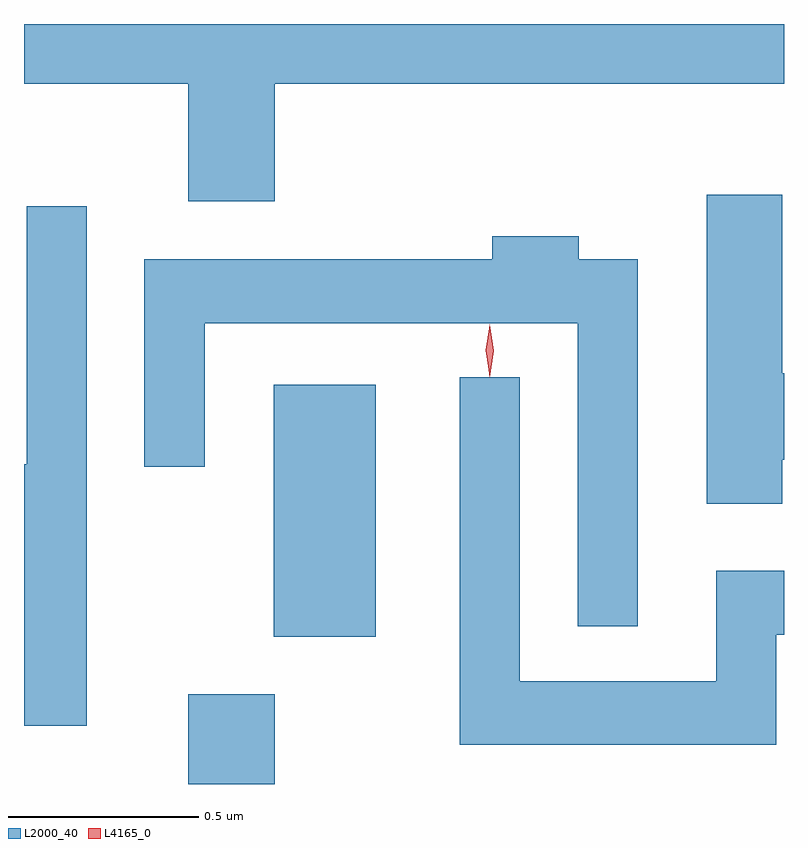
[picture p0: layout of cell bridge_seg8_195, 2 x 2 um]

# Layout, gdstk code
import gdstk
lib = gdstk.Library(unit=1e-6, precision=1e-09)
def R(c, l, rs):  # rectangles x0, y0, x1, y1
    for r in rs: c.add(gdstk.rectangle(r[:2], r[2:], *l))
def P(c, l, *ps):  # polygons
    for p in ps: c.add(gdstk.Polygon(p, *l))
L2000_40 = (2000, 40)
L4165_0 = (4165, 0)

bridge_seg8_195 = lib.new_cell('bridge_seg8_195')
R(bridge_seg8_195, L2000_40, [(1066.041,1910.053,1066.269,1910.289), (1066.266,1910.441,1066.534,1911.104)])
P(bridge_seg8_195, L2000_40, [(1066.269,1911.896),(1067.609,1911.896),(1067.609,1912.053),(1065.609,1912.053),(1065.609,1911.896),(1066.041,1911.896),(1066.041,1911.586),(1066.269,1911.586)],
  [(1067.604,1910.906),(1067.609,1910.906),(1067.609,1911.134),(1067.604,1911.134),(1067.604,1911.604),(1067.406,1911.604),(1067.406,1910.791),(1067.604,1910.791)],
  [(1065.774,1911.573),(1065.616,1911.573),(1065.616,1910.894),(1065.609,1910.894),(1065.609,1910.206),(1065.774,1910.206)],
  [(1067.224,1911.434),(1067.069,1911.434),(1067.069,1911.494),(1066.841,1911.494),(1066.841,1911.434),(1065.926,1911.434),(1065.926,1910.888),(1066.084,1910.888),(1066.084,1911.266),(1067.066,1911.266),(1067.066,1910.468),(1067.224,1910.468)],
  [(1067.589,1910.446),(1067.609,1910.446),(1067.609,1910.614),(1067.431,1910.614),(1067.431,1910.324),(1066.914,1910.324),(1066.914,1911.123),(1066.756,1911.123),(1066.756,1910.156),(1067.589,1910.156)])
P(bridge_seg8_195, L4165_0, [(1066.834,1911.127),(1066.834,1911.127),(1066.824,1911.194),(1066.834,1911.26),(1066.834,1911.26),(1066.835,1911.26),(1066.844,1911.194),(1066.835,1911.127)],
  [(1066.834,1911.124),(1066.825,1911.193),(1066.834,1911.262),(1066.835,1911.263),(1066.835,1911.262),(1066.845,1911.193),(1066.835,1911.124),(1066.835,1911.124)])

lib.write_gds('bridge_seg8_195.gds')
